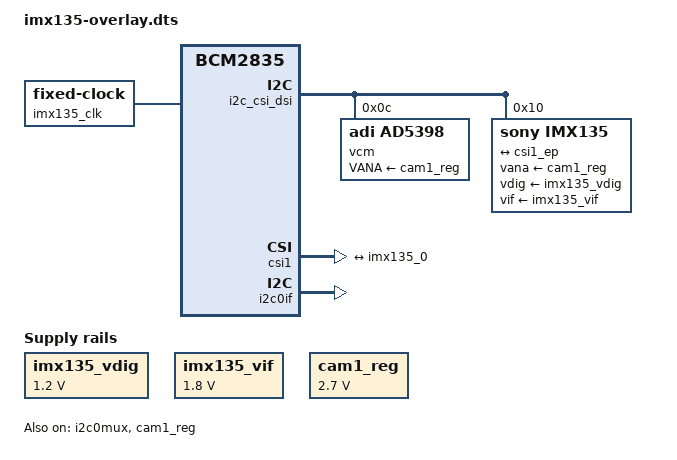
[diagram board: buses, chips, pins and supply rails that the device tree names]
// SPDX-License-Identifier: GPL-2.0-only
// Definitions for IMX135 camera module on VC I2C bus
/dts-v1/;
/plugin/;

#include <dt-bindings/gpio/gpio.h>

/{
	compatible = "brcm,bcm2835";

	fragment@0 {
		target = <&i2c_csi_dsi>;
		__overlay__ {
			#address-cells = <1>;
			#size-cells = <0>;
			status = "okay";

			vcm: ad5398@0c {
				compatible = "adi,ad5398";
				reg = <0x0c>;

				VANA-supply = <&cam1_reg>;
			};

			imx135: imx135@10 {
				compatible = "sony,imx135";
				reg = <0x10>;
				status = "okay";

				clocks = <&imx135_clk>;
				clock-names = "xclk";

				vana-supply = <&cam1_reg>;	/* 2.8v */
				vdig-supply = <&imx135_vdig>;	/* 1.05v */
				vif-supply = <&imx135_vif>;	/* 1.8v */

				lens-focus = <&vcm>;

				rotation = <0>;
				orientation = <2>;

				port {
					imx135_0: endpoint {
						remote-endpoint = <&csi1_ep>;
						clock-lanes = <0>;
						data-lanes = <1 2 3 4>;
						link-frequencies =
							/bits/ 64 <633600000
								320000000>;
					};
				};
			};
		};
	};

	fragment@1 {
		target = <&csi1>;
		__overlay__ {
			status = "okay";

			port {
				csi1_ep: endpoint {
					remote-endpoint = <&imx135_0>;
					clock-lanes = <0>;
					data-lanes = <1 2 3 4>;
				};
			};
		};
	};

	fragment@2 {
		target = <&i2c0if>;
		__overlay__ {
			status = "okay";
		};
	};

	fragment@3 {
		target-path="/";
		__overlay__ {
			imx135_vdig: fixedregulator@0 {
				compatible = "regulator-fixed";
				regulator-name = "imx135_vdig";
				regulator-min-microvolt = <1200000>;
				regulator-max-microvolt = <1200000>;
			};
			imx135_vif: fixedregulator@1 {
				compatible = "regulator-fixed";
				regulator-name = "imx135_vif";
				regulator-min-microvolt = <1800000>;
				regulator-max-microvolt = <1800000>;
			};
			imx135_clk: camera-clk {
				compatible = "fixed-clock";
				#clock-cells = <0>;
				clock-frequency = <24000000>;
			};
		};
	};

	fragment@4 {
		target = <&i2c0mux>;
		__overlay__ {
			status = "okay";
		};
	};

	fragment@5 {
		target = <&cam1_reg>;
		__overlay__ {
			status = "okay";
			regulator-name = "imx135_vana";
			startup-delay-us = <300000>;
			regulator-min-microvolt = <2700000>;
			regulator-max-microvolt = <2700000>;
		};
	};

	__overrides__ {
		rotation = <&imx135>,"rotation:0";
		orientation = <&imx135>,"orientation:0";
	};
};
